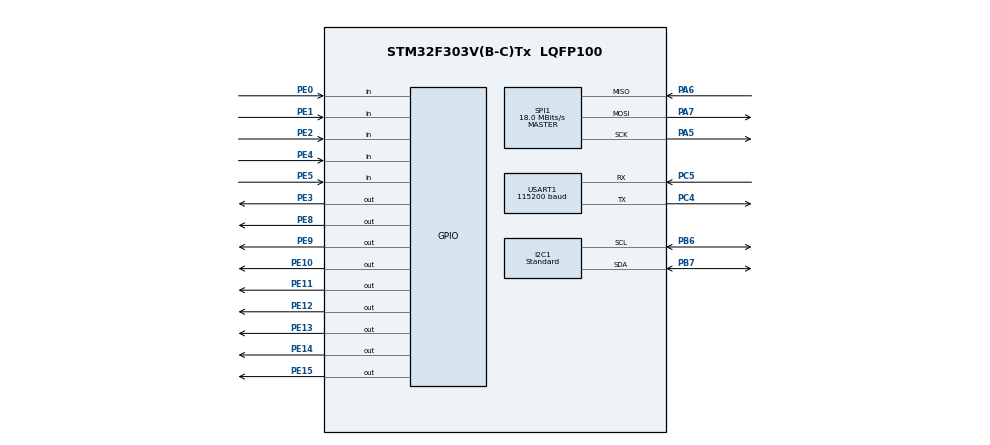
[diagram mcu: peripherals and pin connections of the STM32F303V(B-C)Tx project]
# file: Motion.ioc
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Mcu.Family=STM32F3
PA6.Mode=Full_Duplex_Master
RCC.CortexFreq_Value=72000000
NVIC.I2C1_EV_IRQn=true\:0\:0\:false\:false\:true\:true\:true
I2C1.I2C_Speed_Mode=I2C_Standard
SPI1.VirtualType=VM_MASTER
USART1.BaudRate=115200
RCC.SYSCLKSourceVirtual=RCC_SYSCLKSOURCE_PLLCLK
PC5.Mode=Asynchronous
ProjectManager.StackSize=0x400
SPI1.Direction=SPI_DIRECTION_2LINES
RCC.HCLKFreq_Value=72000000
RCC.APB2TimFreq_Value=72000000
PB6.Signal=I2C1_SCL
PB6.Mode=I2C
SPI1.CalculateBaudRate=18.0 MBits/s
PE5.Signal=GPIO_Input
PE1.Signal=GPIO_Input
RCC.AHBFreq_Value=72000000
RCC.HSE_VALUE=8000000
RCC.PLLMUL=RCC_PLL_MUL9
PE13.Signal=GPIO_Output
PE9.Signal=GPIO_Output
SPI1.DataSize=SPI_DATASIZE_8BIT
PE2.Signal=GPIO_Input
PB7.Signal=I2C1_SDA
NVIC.I2C1_ER_IRQn=true\:0\:0\:false\:false\:true\:true\:true
PE10.Signal=GPIO_Output
PE4.Signal=GPIO_Input
Mcu.Package=LQFP100
PA6.Signal=SPI1_MISO
RCC.APB1TimFreq_Value=72000000
PC5.Signal=USART1_RX
NVIC.USART1_IRQn=true\:0\:0\:false\:false\:true\:true\:true
PF1-OSC_OUT.Mode=HSE-External-Oscillator
SPI1.BaudRatePrescaler=SPI_BAUDRATEPRESCALER_4
PF1-OSC_OUT.Signal=RCC_OSC_OUT
PC4.Mode=Asynchronous
PA5.Mode=Full_Duplex_Master
RCC.PLLSourceVirtual=RCC_PLLSOURCE_HSE
PA7.Mode=Full_Duplex_Master
PC4.Signal=USART1_TX
RCC.APB1CLKDivider=RCC_HCLK_DIV2
I2C1.Analog_Filter=I2C_ANALOGFILTER_DISABLE
USART1.VirtualMode-Asynchronous=VM_ASYNC
ProjectManager.TargetToolchain=TrueSTUDIO
I2C1.Timing=0x00101D2D
RCC.USBFreq_Value=72000000
PE11.Signal=GPIO_Output
RCC.LSE_VALUE=32768
PF0-OSC_IN.Mode=HSE-External-Oscillator
PA5.Signal=SPI1_SCK
board=STM32F3DISCOVERY
NVIC.SPI1_IRQn=true\:0\:0\:false\:false\:true\:true\:true
RCC.APB2Freq_Value=72000000
PE14.Signal=GPIO_Output
PE15.Signal=GPIO_Output
PE8.Signal=GPIO_Output
SPI1.Mode=SPI_MODE_MASTER
Mcu.Name=STM32F303V(B-C)Tx
PE0.Signal=GPIO_Input
PE12.Signal=GPIO_Output
RCC.SYSCLKFreq_VALUE=72000000
PB7.Mode=I2C
ProjectManager.HeapSize=0x200
RCC.HSI_VALUE=8000000
NVIC.PriorityGroup=NVIC_PRIORITYGROUP_0
PE3.Signal=GPIO_Output
PF0-OSC_IN.Signal=RCC_OSC_IN
RCC.APB1Freq_Value=36000000
PA7.Signal=SPI1_MOSI

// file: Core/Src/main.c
/* USER CODE BEGIN Header */
/**
  ******************************************************************************
  * @file           : main.c
  * @brief          : Main program body
  ******************************************************************************
  * @attention
  *
  * <h2><center>&copy; Copyright (c) 2020 STMicroelectronics.
  * All rights reserved.</center></h2>
  *
  * This software component is licensed by ST under BSD 3-Clause license,
  * the "License"; You may not use this file except in compliance with the
  * License. You may obtain a copy of the License at:
  *                        opensource.org/licenses/BSD-3-Clause
  *
  ******************************************************************************
  */
/* USER CODE END Header */
#include "main.h"
#include "i2c.h"
#include "spi.h"
#include "usart.h"
#include "gpio.h"

/* USER CODE BEGIN Includes */
#include "lsm303dlhc.h"
#include "stm32f3xx_it.h"
#include "l3gd20.h"
/* USER CODE END Includes */

/* USER CODE BEGIN PV */
struct Accel_Type Accel;
struct Magnetic_Type Magnetic;

/* USER CODE END PV */

void SystemClock_Config(void);

int main(void)
{

  /* MCU Configuration--------------------------------------------------------*/

  /* Reset of all peripherals, Initializes the Flash interface and the Systick. */

  LL_APB2_GRP1_EnableClock(LL_APB2_GRP1_PERIPH_SYSCFG);
  LL_APB1_GRP1_EnableClock(LL_APB1_GRP1_PERIPH_PWR);

  NVIC_SetPriorityGrouping(NVIC_PRIORITYGROUP_0);

  /* System interrupt init*/

  /* Configure the system clock */
  SystemClock_Config();

  /* Initialize all configured peripherals */
  MX_GPIO_Init();
  MX_I2C1_Init();
  MX_SPI1_Init();
  MX_USART1_UART_Init();
  /* USER CODE BEGIN 2 */
	Accel_Init();

  /* USER CODE END 2 */

  /* Infinite loop */
  /* USER CODE BEGIN WHILE */
  while (1)
  {
	  Accel.XYZ_High[0] = RecieveDataI2C(0x29);
	  LL_mDelay(10);
	  Accel.XYZ_High[1] = RecieveDataI2C(0x2B);
	  LL_mDelay(10);
	  Accel.XYZ_High[2] = RecieveDataI2C(0x2D);
	  LL_mDelay(10);
	  Accel.XYZ_Low[0] = RecieveDataI2C(0x28);
	  LL_mDelay(10);
	  Accel.XYZ_Low[0] = RecieveDataI2C(0x2A);
	  LL_mDelay(10);
	  Accel.XYZ_Low[0] = RecieveDataI2C(0x2C);
	  LL_mDelay(10);

	  Accel.XYZ[0] = ShiftValue(Accel.XYZ_High[0], Accel.XYZ_Low[0]);
	  Accel.XYZ[1] = ShiftValue(Accel.XYZ_High[1], Accel.XYZ_Low[1]);
	  Accel.XYZ[2] = ShiftValue(Accel.XYZ_High[2], Accel.XYZ_Low[2]);

    /* USER CODE END WHILE */

  }
}

void SystemClock_Config(void)
{
  LL_FLASH_SetLatency(LL_FLASH_LATENCY_2);
  while(LL_FLASH_GetLatency()!= LL_FLASH_LATENCY_2)
  {
  }
  LL_RCC_HSE_Enable();

   /* Wait till HSE is ready */
  while(LL_RCC_HSE_IsReady() != 1)
  {

  }
  LL_RCC_HSI_Enable();

   /* Wait till HSI is ready */
  while(LL_RCC_HSI_IsReady() != 1)
  {

  }
  LL_RCC_HSI_SetCalibTrimming(16);
  LL_RCC_PLL_ConfigDomain_SYS(LL_RCC_PLLSOURCE_HSE_DIV_1, LL_RCC_PLL_MUL_9);
  LL_RCC_PLL_Enable();

   /* Wait till PLL is ready */
  while(LL_RCC_PLL_IsReady() != 1)
  {

  }
  LL_RCC_SetAHBPrescaler(LL_RCC_SYSCLK_DIV_1);
  LL_RCC_SetAPB1Prescaler(LL_RCC_APB1_DIV_2);
  LL_RCC_SetAPB2Prescaler(LL_RCC_APB1_DIV_1);
  LL_RCC_SetSysClkSource(LL_RCC_SYS_CLKSOURCE_PLL);

   /* Wait till System clock is ready */
  while(LL_RCC_GetSysClkSource() != LL_RCC_SYS_CLKSOURCE_STATUS_PLL)
  {

  }
  LL_SetSystemCoreClock(72000000);
  LL_RCC_SetUSARTClockSource(LL_RCC_USART1_CLKSOURCE_PCLK2);
  LL_RCC_SetI2CClockSource(LL_RCC_I2C1_CLKSOURCE_HSI);
	SysTick_Config(72000);
}

void Error_Handler(void)
{
}

/************************ (C) COPYRIGHT STMicroelectronics *****END OF FILE****/
